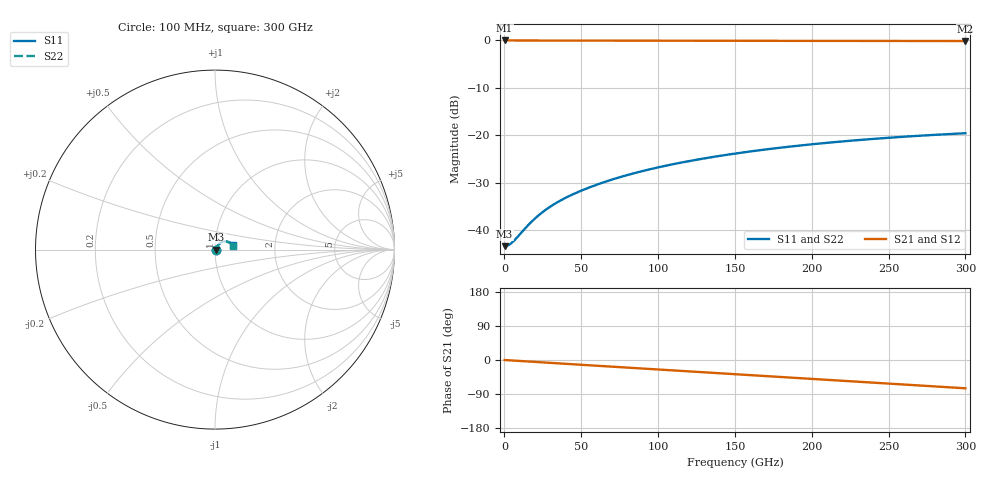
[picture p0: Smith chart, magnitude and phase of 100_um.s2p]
! Created with skrf (http://scikit-rf.org).
# Hz S RI R 50.0
!freq ReS11 ImS11 ReS21 ImS21 ReS12 ImS12 ReS22 ImS22
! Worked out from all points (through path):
!   3000 points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, 100 MHz to 300 GHz, reference 50 ohm
!   highest |S21| = -0.06 dB at 100 MHz (marker M1); lowest = -0.2 dB at 300 GHz (marker M2)
!   group delay of S21, straight-line fit = 690 fs
!   lowest |S11| = -43.4 dB at 100 MHz (marker M3), VSWR 1.01, Z = 50.7 + j0.00543 ohm
!   |S11| at or under -10 dB: start of sweep to end of sweep
!   |S22| runs from -43.6 to -19.7 dB; largest |S21 - S12| = 0.00077
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1e8  0.00675 5.35e-05  0.9933 -0.000447  0.9934 -0.000449  0.00662 5.45e-05
2.5e9  0.00678 0.00134  0.9932 -0.0112  0.9933 -0.0112  0.00666 0.00136
5.2e9  0.0069 0.00277  0.9929 -0.0232  0.993 -0.0233  0.00679 0.00282
1.68e10  0.00816 0.00858  0.9896 -0.0746  0.9895 -0.0746  0.00821 0.00859
2.11e10  0.00886 0.0105  0.9876 -0.0933  0.9874 -0.0933  0.00895 0.0105
2.56e10  0.00967 0.0125  0.9851 -0.1128  0.985 -0.1127  0.00977 0.0123
3.08e10  0.0107 0.0146  0.9818 -0.1351  0.9818 -0.1349  0.0107 0.0143
3.65e10  0.0118 0.0167  0.9778 -0.1593  0.9778 -0.1592  0.0118 0.0164
4.29e10  0.0131 0.019  0.9726 -0.1864  0.9727 -0.1864  0.013 0.0187
5.01e10  0.0146 0.0215  0.9659 -0.2166  0.966 -0.2167  0.0145 0.0212
6.09e10  0.0171 0.0251  0.9541 -0.2616  0.9541 -0.2617  0.017 0.0248
7.25e10  0.02 0.0287  0.9391 -0.3092  0.9391 -0.3092  0.02 0.0283
8.57e10  0.0237 0.0324  0.9192 -0.3622  0.9193 -0.3622  0.0237 0.0319
1.001e11  0.0282 0.036  0.8942 -0.4186  0.8943 -0.4187  0.0281 0.0354
1.236e11  0.0362 0.0406  0.8461 -0.5069  0.8462 -0.5069  0.0361 0.04
1.501e11  0.0462 0.0441  0.7816 -0.5998  0.7817 -0.5999  0.0461 0.0433
1.74e11  0.0557 0.0454  0.7148 -0.6766  0.7148 -0.6768  0.0556 0.0444
2.001e11  0.0663 0.0447  0.6332 -0.7521  0.6333 -0.7524  0.0661 0.0437
2.253e11  0.0764 0.0421  0.5471 -0.8157  0.5471 -0.816  0.0762 0.041
2.501e11  0.0858 0.0376  0.4561 -0.869  0.4561 -0.8693  0.0856 0.0364
2.751e11  0.0945 0.0313  0.3592 -0.9123  0.3594 -0.9126  0.0942 0.03
3e11  0.1019 0.0235  0.2591 -0.9448  0.2586 -0.9454  0.1017 0.022
